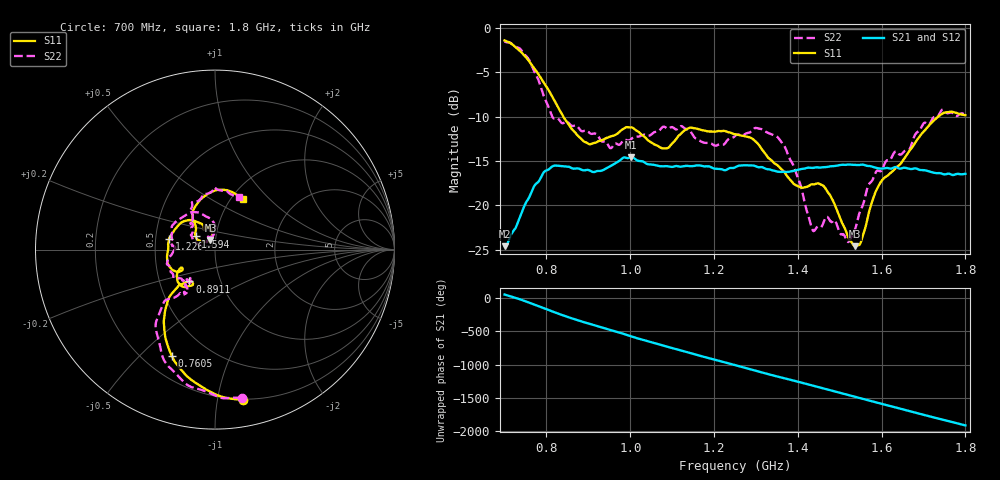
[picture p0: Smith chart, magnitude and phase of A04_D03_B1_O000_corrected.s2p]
! Created with skrf 1.9.0 (http://scikit-rf.org).
# Hz S RI R 50.0
!freq ReS11 ImS11 ReS21 ImS21 ReS12 ImS12 ReS22 ImS22
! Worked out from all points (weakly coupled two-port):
!   1601 points, 700 MHz to 1.8 GHz, reference 50 ohm
!   highest |S21| = -14.57 dB at 1.002 GHz (marker M1); lowest = -24.6 dB at 701.4 MHz (marker M2)
!   lowest |S11| = -24.6 dB at 1.536 GHz (marker M3), VSWR 1.13, Z = 47.3 + j5.05 ohm
!   |S11| at or under -10 dB: 840.1 MHz to 1.735 GHz (894.5 MHz wide, 69.5 % of centre)
!   |S22| runs from -24.1 to -1.5 dB; largest |S21 - S12| = 0.0035
!   S11 on the Smith chart (normalised r, x): 700 MHz: 0.20, -1.19; 760.5 MHz: 0.31, -0.63; 891.1 MHz: 0.71, -0.27; 1.226 GHz: 0.59, +0.08; 1.594 GHz: 0.80, +0.12; 1.8 GHz: 1.13, +0.71
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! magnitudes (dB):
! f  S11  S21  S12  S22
! 700 MHz  -1.4  -24.6  -24.4  -1.5
! 701.4 MHz  -1.4  -24.6  -24.2  -1.5
! 760.5 MHz  -3.9  -18.9  -18.8  -3.8
! 814.8 MHz  -7.8  -15.6  -15.6  -10.1
! 883.6 MHz  -12.5  -16.0  -15.9  -11.6
! 891.1 MHz  -12.8  -16.0  -16.0  -11.6
! 953 MHz  -12.2  -15.6  -15.6  -13.5
! 1.002 GHz  -11.2  -14.6  -14.7  -12.5
! 1.067 GHz  -13.3  -15.6  -15.5  -11.6
! 1.142 GHz  -11.2  -15.6  -15.5  -11.5
! 1.226 GHz  -11.6  -16.0  -16.0  -13.0
! 1.25 GHz  -12.0  -15.7  -15.6  -12.2
! 1.355 GHz  -15.6  -16.2  -16.1  -12.5
! 1.394 GHz  -17.7  -16.1  -16.0  -16.0
! 1.434 GHz  -17.6  -15.8  -15.7  -22.6
! 1.467 GHz  -18.1  -15.7  -15.7  -21.4
! 1.52 GHz  -23.5  -15.4  -15.4  -24.1
! 1.536 GHz  -24.6  -15.4  -15.4  -22.8
! 1.594 GHz  -17.7  -15.8  -15.8  -16.1
! 1.617 GHz  -16.5  -15.8  -15.8  -14.9
! 1.738 GHz  -9.9  -16.4  -16.4  -9.7
! 1.8 GHz  -9.8  -16.4  -16.4  -9.8
